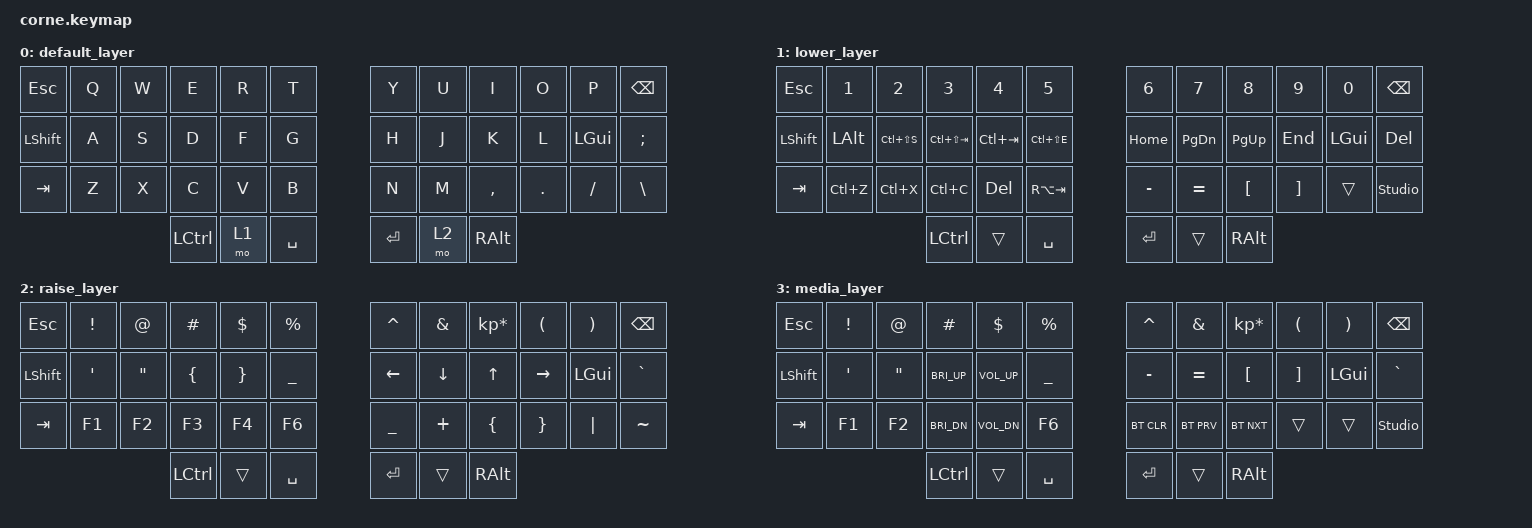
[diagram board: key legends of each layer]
/*
 * Copyright (c) 2020 The ZMK Contributors
 *
 * SPDX-License-Identifier: MIT
 */

#include <behaviors.dtsi>
#include <dt-bindings/zmk/bt.h>
#include <dt-bindings/zmk/keys.h>

/ {
    keymap {
        compatible = "zmk,keymap";

        default_layer {
            // -----------------------------------------------------------------------------------------
            // |  ESC  |  Q  |  W  |  E  |  R  |  T  |   |  Y  |  U   |  I  |  O  |  P    | BKSP |
            // | SHIFT |  A  |  S  |  D  |  F  |  G  |   |  H  |  J   |  K  |  L  |  ctrl |  ;   |
            // | TAB   |  Z  |  X  |  C  |  V  |  B  |   |  N  |  M   |  ,  |  .  |    /  |   \  |
            //                    | GUI | LWR | SPC |   | ENT | RSE  | ALT |

            bindings = <
&kp ESC    &kp Q  &kp W  &kp E     &kp R  &kp T        &kp Y    &kp U  &kp I      &kp O    &kp P      &kp BSPC
&kp LSHFT  &kp A  &kp S  &kp D     &kp F  &kp G        &kp H    &kp J  &kp K      &kp L    &kp LGUI  &kp SEMI
&kp TAB    &kp Z  &kp X  &kp C     &kp V  &kp B        &kp N    &kp M  &kp COMMA  &kp DOT  &kp FSLH   &kp BSLH
                         &kp LCTRL  &mo 1  &kp SPACE    &kp RET  &mo 2  &kp RALT
            >;
        };

        lower_layer {
            // -----------------------------------------------------------------------------------------
            // |  ESC |  1  |  2  |  3  |  4  |  5  |   |  6  |  7  |  8  |  9  |  0  | BKSP |
            // | SHIFT| ctrl | ctrl(shift(s)) | c(s(tab)) | c(tab) | ctrl(shift(e)) |   | LFT | DWN |  UP | RGT |  ctrl   |  del    |
            // | TAB  | undo  |  cut |  copy | past  | alt+tab  |   | HOME  |  PG_DN  |  PG_UP  |  END  |     |      | unlock
            //                    | GUI |     | SPC |   | ENT |     | ALT |

            bindings = <
&kp ESC    &kp N1     &kp N2         &kp N3          &kp N4       &kp N5        &kp N6    &kp N7     &kp N8     &kp N9    &kp N0    &kp BSPC
&kp LSHFT  &kp LALT   &kp LC(LS(S))  &kp LC(LS(TAB)) &kp LC(TAB)  &kp LC(LS(E)) &kp HOME &kp PG_DN  &kp PG_UP   &kp END  &kp LGUI  &kp DEL
&kp TAB    &kp LC(Z)  &kp LC(X)      &kp LC(C)       &kp DEL      &kp RA(TAB)   &kp MINUS  &kp EQUAL  &kp LBKT  &kp  RBKT  &trans    &studio_unlock
                              &kp LCTRL      &trans        &kp SPACE       &kp RET   &trans    &kp RALT
            >;
        };

        raise_layer {
            // -----------------------------------------------------------------------------------------
            // |  ESC |  !  |  @  |  #  |  $  |  %  |   |  ^  |  &  |  *  |  (  |  )  | BKSP |
            // | SHIFT |  '   |  "  |  {  |  }  |  _  |   |  -  |  =  |  [  |  ]  |  ctrl  |  ` |
            // | TAB |  F1  |  F2 |  F3 | F4  | F5  |   |  _  |  +  |  {  |  }  | "|" |  ~   |
            //                    | GUI |     | SPC |   | ENT |     | ALT |

            bindings = <
&kp ESC    &kp EXCL  &kp AT   &kp HASH  &kp DLLR  &kp PRCNT   &kp CARET  &kp AMPS   &kp KP_MULTIPLY  &kp LPAR  &kp RPAR  &kp BSPC
&kp LSHFT  &kp SQT   &kp DQT  &kp LBRC  &kp RBRC  &kp UNDER   &kp LEFT   &kp DOWN   &kp UP           &kp RIGHT &kp LGUI  &kp GRAVE
&kp TAB    &kp F1    &kp F2   &kp F3    &kp F4    &kp F6     &kp UNDER  &kp PLUS    &kp LBRC         &kp RBRC  &kp PIPE  &kp TILDE
                             &kp LCTRL  &trans    &kp SPACE    &kp RET    &trans    &kp RALT
            >;
        };

        media_layer {
            // -----------------------------------------------------------------------------------------
            // |  ESC |  !  |  @  |  #  |  $  |  %  |   |  ^  |  &  |  *  |  (  |  )  | BKSP |
            // | SHIFT |  '   |  "  |  {  |  }  |  _  |   |  -  |  =  |  [  |  ]  |  ctrl  |  ` |
            // | TAB |  F1  |  F2 |  F3 | F4  | F5  |   |  _  |  +  |  {  |  }  | "|" |  ~   |
            //                    | LCTRL |     | SPC |   | ENT |     | ALT |

            bindings = <
&kp ESC    &kp EXCL  &kp AT   &kp HASH      &kp DLLR      &kp PRCNT   &kp CARET  &kp AMPS   &kp KP_MULTIPLY   &kp LPAR  &kp RPAR  &kp BSPC
&kp LSHFT  &kp SQT   &kp DQT  &kp C_BRI_UP  &kp C_VOL_UP  &kp UNDER   &kp MINUS  &kp EQUAL  &kp LBKT          &kp RBKT  &kp LGUI  &kp GRAVE
&kp TAB    &kp F1    &kp F2   &kp C_BRI_DN  &kp C_VOL_DN  &kp F6      &bt BT_CLR &bt BT_PRV &bt BT_NXT        &trans    &trans    &studio_unlock
                             &kp LCTRL  &trans    &kp SPACE    &kp RET    &trans     &kp RALT
            >;
        };

    };
    
    conditional_layers {
        compatible = "zmk,conditional-layers";
        tri_layer {
            if-layers = <1 2>;
            then-layer = <3>;
        };
    };
};
